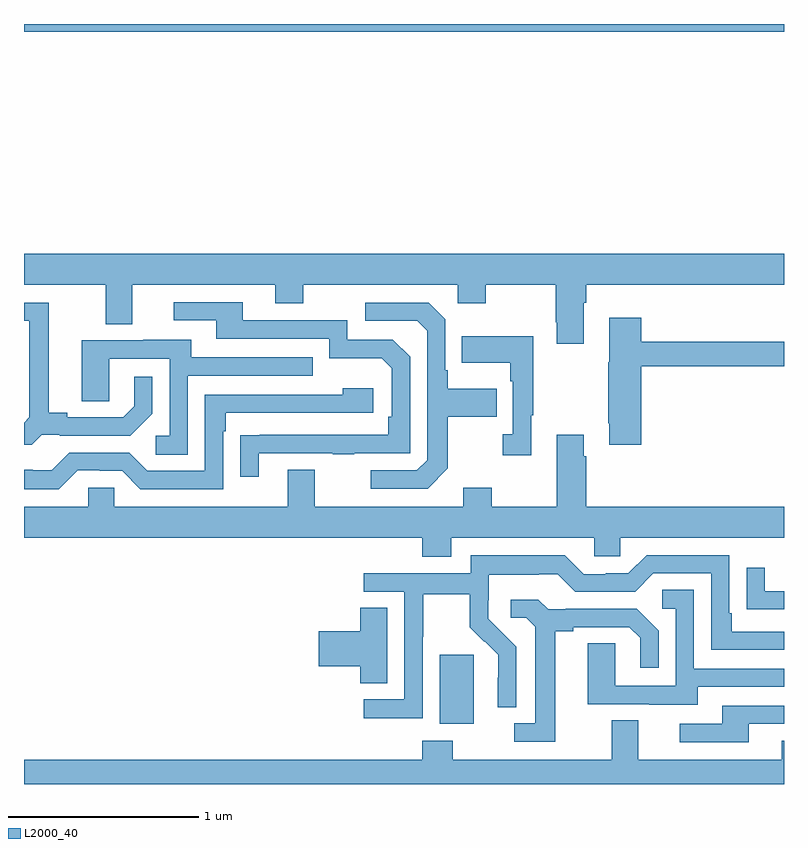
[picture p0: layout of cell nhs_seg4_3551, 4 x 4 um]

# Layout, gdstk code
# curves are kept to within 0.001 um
import gdstk
lib = gdstk.Library(unit=1e-6, precision=1e-09)
def R(c, l, rs):  # rectangles x0, y0, x1, y1
    for r in rs: c.add(gdstk.rectangle(r[:2], r[2:], *l))
def P(c, l, *ps):  # polygons
    for p in ps: c.add(gdstk.Polygon(p, *l))
L2000_40 = (2000, 40)

nhs_seg4_3551 = lib.new_cell('nhs_seg4_3551')
R(nhs_seg4_3551, L2000_40, [(301.187,753.218,301.366,753.579), (299,756.86,303,756.9)])
P(nhs_seg4_3551, L2000_40, [(301.945,755.432),(301.958,755.432),(301.958,755.528),(303,755.528),(303,755.692),(299,755.692),(299,755.528),(299.429,755.528),(299.429,755.32),(299.569,755.32),(299.569,755.528),(300.323,755.528),(300.323,755.429),(300.471,755.429),(300.471,755.528),(301.284,755.528),(301.284,755.429),(301.431,755.429),(301.431,755.528),(301.798,755.528),(301.798,755.329),(301.805,755.329),(301.805,755.217),(301.945,755.217)],
  [(300.235,754.641),(300.625,754.641),(300.625,754.636),(300.737,754.636),(300.737,754.641),(301.032,754.641),(301.032,755.148),(300.942,755.238),(300.702,755.238),(300.702,755.34),(300.151,755.34),(300.151,755.436),(299.787,755.436),(299.787,755.34),(300.011,755.34),(300.011,755.244),(300.606,755.244),(300.606,755.141),(300.883,755.141),(300.936,755.088),(300.936,754.834),(300.916,754.834),(300.916,754.737),(300.139,754.736),(300.139,754.518),(300.235,754.518)],
  [(301.231,754.561),(301.231,754.834),(301.487,754.834),(301.487,754.981),(301.231,754.981),(301.231,755.077),(301.218,755.077),(301.218,755.346),(301.131,755.433),(300.795,755.433),(300.795,755.337),(301.071,755.337),(301.122,755.286),(301.122,754.605),(301.068,754.551),(300.825,754.551),(300.825,754.455),(301.125,754.455)],
  [(299.094,754.737),(299.188,754.737),(299.188,754.734),(299.56,754.734),(299.676,754.85),(299.676,755.044),(299.579,755.044),(299.579,754.887),(299.522,754.83),(299.227,754.83),(299.227,754.853),(299.131,754.853),(299.131,755.433),(299,755.433),(299,755.337),(299.027,755.337),(299.027,754.829),(299,754.802),(299,754.685),(299.042,754.685)],
  [(302.249,755.098),(303,755.098),(303,755.227),(302.249,755.227),(302.249,755.353),(302.081,755.353),(302.081,755.121),(302.074,755.121),(302.074,754.798),(302.081,754.798),(302.081,754.686),(302.249,754.686)],
  [(301.669,754.841),(301.681,754.841),(301.681,755.257),(301.303,755.257),(301.303,755.117),(301.56,755.117),(301.56,755.021),(301.572,755.021),(301.572,754.742),(301.521,754.742),(301.521,754.629),(301.669,754.629)],
  [(299.862,755.049),(300.521,755.049),(300.521,755.145),(299.881,755.145),(299.881,755.239),(299.627,755.239),(299.627,755.235),(299.303,755.235),(299.303,754.915),(299.448,754.915),(299.448,755.139),(299.766,755.139),(299.766,754.734),(299.694,754.734),(299.694,754.633),(299.862,754.633)],
  [(299.283,754.551),(299.399,754.551),(299.399,754.548),(299.517,754.548),(299.613,754.452),(300.048,754.452),(300.048,754.757),(300.061,754.757),(300.061,754.854),(300.838,754.854),(300.838,754.984),(300.677,754.984),(300.677,754.95),(299.952,754.95),(299.952,754.548),(299.649,754.548),(299.553,754.644),(299.238,754.644),(299.145,754.551),(299.045,754.551),(299.045,754.555),(299,754.555),(299,754.451),(299.183,754.451)],
  [(301.249,754.196),(302.001,754.196),(302.001,754.098),(302.139,754.098),(302.139,754.196),(303,754.196),(303,754.36),(301.958,754.36),(301.958,754.625),(301.945,754.625),(301.945,754.738),(301.805,754.738),(301.805,754.36),(301.461,754.36),(301.461,754.459),(301.313,754.459),(301.313,754.36),(300.529,754.36),(300.529,754.555),(300.389,754.555),(300.389,754.36),(299.475,754.36),(299.475,754.458),(299.337,754.458),(299.337,754.36),(299,754.36),(299,754.196),(301.097,754.196),(301.097,754.097),(301.249,754.097)],
  [(301.002,753.912),(301.002,753.345),(300.789,753.345),(300.789,753.247),(301.098,753.247),(301.098,753.676),(301.101,753.676),(301.101,753.9),(301.345,753.9),(301.345,753.725),(301.422,753.648),(301.425,753.651),(301.496,753.581),(301.496,753.458),(301.494,753.458),(301.494,753.304),(301.59,753.304),(301.59,753.622),(301.444,753.77),(301.444,753.867),(301.446,753.867),(301.446,754.001),(301.709,754.001),(301.709,754.005),(301.809,754.005),(301.902,753.912),(302.217,753.912),(302.313,754.008),(302.616,754.008),(302.616,753.606),(303,753.606),(303,753.702),(302.725,753.702),(302.725,753.799),(302.712,753.799),(302.712,754.104),(302.277,754.104),(302.181,754.008),(302.063,754.008),(302.063,754.005),(301.947,754.005),(301.847,754.105),(301.35,754.105),(301.35,754.008),(300.789,754.008),(300.789,753.912)],
  [(303,753.915),(302.899,753.915),(302.899,754.039),(302.803,754.039),(302.803,753.82),(302.905,753.82),(302.905,753.819),(303,753.819)],
  [(302.545,753.411),(303,753.411),(303,753.507),(302.526,753.507),(302.526,753.923),(302.358,753.923),(302.358,753.822),(302.43,753.822),(302.43,753.417),(302.112,753.417),(302.112,753.641),(301.967,753.641),(301.967,753.321),(302.291,753.321),(302.291,753.317),(302.545,753.317)],
  [(301.795,753.704),(301.891,753.704),(301.891,753.726),(302.186,753.726),(302.243,753.669),(302.243,753.513),(302.34,753.513),(302.34,753.706),(302.224,753.822),(301.852,753.822),(301.852,753.819),(301.758,753.819),(301.706,753.871),(301.563,753.871),(301.563,753.774),(301.644,753.774),(301.691,753.727),(301.691,753.219),(301.581,753.219),(301.581,753.123),(301.795,753.123)],
  [(300.913,753.827),(300.77,753.827),(300.77,753.704),(300.552,753.704),(300.552,753.521),(300.77,753.521),(300.77,753.43),(300.913,753.43)],
  [(302.815,753.216),(303,753.216),(303,753.312),(302.675,753.312),(302.675,753.216),(302.451,753.216),(302.451,753.12),(302.815,753.12)],
  [(303,753.127),(302.987,753.127),(302.987,753.028),(302.233,753.028),(302.233,753.236),(302.093,753.236),(302.093,753.028),(301.257,753.028),(301.257,753.127),(301.097,753.127),(301.097,753.028),(299,753.028),(299,752.9),(303,752.9)])

lib.write_gds('nhs_seg4_3551.gds')
